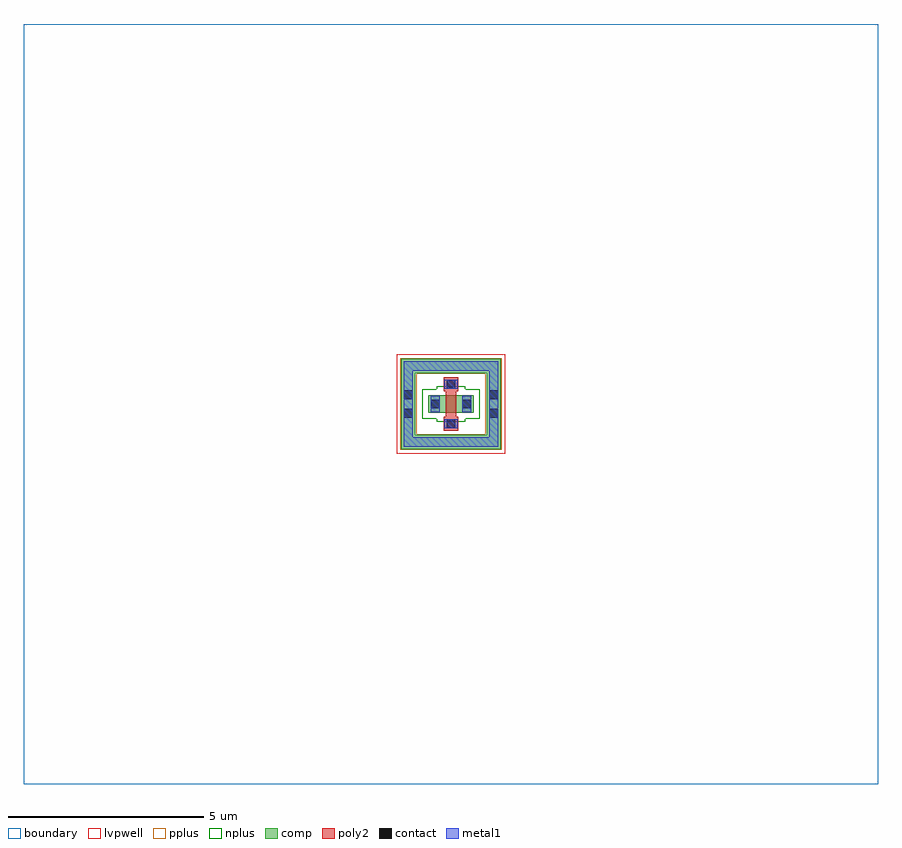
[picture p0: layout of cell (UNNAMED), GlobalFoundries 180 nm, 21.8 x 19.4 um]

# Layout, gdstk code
import gdstk
lib = gdstk.Library(unit=1e-6, precision=1e-09)
def R(c, l, rs):  # rectangles x0, y0, x1, y1
    for r in rs: c.add(gdstk.rectangle(r[:2], r[2:], *l))
boundary = (0, 0)
comp = (22, 0)
poly2 = (30, 0)
pplus = (31, 0)
nplus = (32, 0)
contact = (33, 0)
metal1 = (34, 0)
lvpwell = (204, 0)

c__unnamed_ = lib.new_cell('(UNNAMED)')
R(c__unnamed_, boundary, [(-10.9,-9.7,10.9,9.7)])
R(c__unnamed_, comp, [(-1.27,-1.15,1.27,-0.79), (-1.27,-0.79,-0.91,0.79), (0.91,-0.79,1.27,0.79), (-0.58,-0.22,0.58,0.22), (-1.27,0.79,1.27,1.15)])
R(c__unnamed_, poly2, [(-0.18,-0.68,0.18,-0.32), (-0.14,-0.32,0.14,0.32), (-0.18,0.32,0.18,0.68)])
R(c__unnamed_, pplus, [(-1.29,-1.17,1.29,-0.77), (-1.29,-0.77,-0.88,-0.665), (0.88,-0.77,1.29,-0.665), (-1.3,-0.665,-0.88,0.665), (0.88,-0.665,1.3,0.665), (-1.29,0.665,-0.88,0.77), (0.88,0.665,1.29,0.77), (-1.29,0.77,1.29,1.17)])
R(c__unnamed_, nplus, [(-0.37,-0.45,0.37,-0.38), (-0.74,-0.38,0.74,0.38), (-0.37,0.38,0.37,0.45)])
R(c__unnamed_, contact, [(-0.11,-0.61,0.11,-0.39), (-1.2,-0.345,-0.98,-0.125), (0.98,-0.345,1.2,-0.125), (-0.51,-0.11,-0.29,0.11), (0.29,-0.11,0.51,0.11), (-1.2,0.125,-0.98,0.345), (0.98,0.125,1.2,0.345), (-0.11,0.39,0.11,0.61)])
R(c__unnamed_, metal1, [(-1.205,-1.085,1.205,-0.855), (-1.205,-0.855,-0.975,0.855), (0.975,-0.855,1.205,0.855), (-0.17,-0.615,0.17,-0.385), (-0.515,-0.21,-0.285,0.21), (0.285,-0.21,0.515,0.21), (-0.17,0.385,0.17,0.615), (-1.205,0.855,1.205,1.085)])
R(c__unnamed_, lvpwell, [(-1.39,-1.27,1.39,1.27)])

lib.write_gds('_UNNAMED_.gds')
